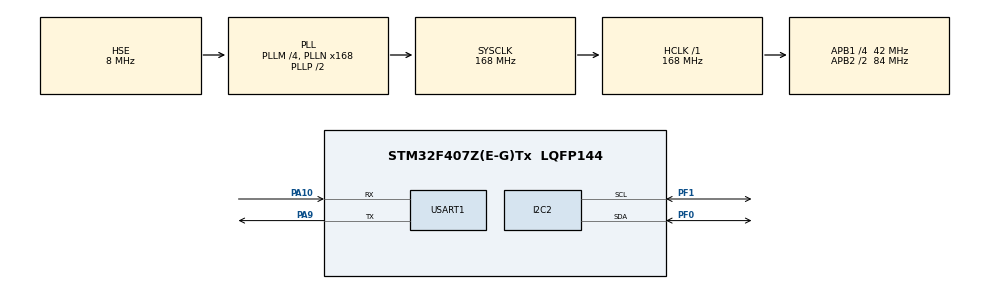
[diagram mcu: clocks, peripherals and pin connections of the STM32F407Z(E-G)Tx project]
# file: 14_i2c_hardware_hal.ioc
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Mcu.Family=STM32F4
Mcu.Name=STM32F407Z(E-G)Tx
Mcu.Package=LQFP144
NVIC.PriorityGroup=NVIC_PRIORITYGROUP_4
PA10.Mode=Asynchronous
PA10.Signal=USART1_RX
PA13.Mode=Serial_Wire
PA13.Signal=SYS_JTMS-SWDIO
PA14.Mode=Serial_Wire
PA14.Signal=SYS_JTCK-SWCLK
PA9.Mode=Asynchronous
PA9.Signal=USART1_TX
PC14-OSC32_IN.Mode=LSE-External-Oscillator
PC14-OSC32_IN.Signal=RCC_OSC32_IN
PC15-OSC32_OUT.Mode=LSE-External-Oscillator
PC15-OSC32_OUT.Signal=RCC_OSC32_OUT
PF0.Mode=I2C
PF0.Signal=I2C2_SDA
PF1.Mode=I2C
PF1.Signal=I2C2_SCL
PH0-OSC_IN.Mode=HSE-External-Oscillator
PH0-OSC_IN.Signal=RCC_OSC_IN
PH1-OSC_OUT.Mode=HSE-External-Oscillator
PH1-OSC_OUT.Signal=RCC_OSC_OUT
ProjectManager.HeapSize=0x200
ProjectManager.StackSize=0x400
ProjectManager.TargetToolchain=MDK-ARM V5.32
RCC.48MHZClocksFreq_Value=84000000
RCC.AHBFreq_Value=168000000
RCC.APB1CLKDivider=RCC_HCLK_DIV4
RCC.APB1Freq_Value=42000000
RCC.APB1TimFreq_Value=84000000
RCC.APB2CLKDivider=RCC_HCLK_DIV2
RCC.APB2Freq_Value=84000000
RCC.APB2TimFreq_Value=168000000
RCC.CortexFreq_Value=168000000
RCC.HCLKFreq_Value=168000000
RCC.HSE_VALUE=8000000
RCC.HSI_VALUE=16000000
RCC.PLLM=4
RCC.PLLN=168
RCC.PLLSourceVirtual=RCC_PLLSOURCE_HSE
RCC.SYSCLKFreq_VALUE=168000000
RCC.SYSCLKSource=RCC_SYSCLKSOURCE_PLLCLK
RCC.VCOOutputFreq_Value=336000000
USART1.VirtualMode=VM_ASYNC
board=custom

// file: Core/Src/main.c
/* USER CODE BEGIN Header */
/**
  ******************************************************************************
  * @file           : main.c
  * @brief          : Main program body
  ******************************************************************************
  * @attention
  *
  * <h2><center>&copy; Copyright (c) 2025 STMicroelectronics.
  * All rights reserved.</center></h2>
  *
  * This software component is licensed by ST under BSD 3-Clause license,
  * the "License"; You may not use this file except in compliance with the
  * License. You may obtain a copy of the License at:
  *                        opensource.org/licenses/BSD-3-Clause
  *
  ******************************************************************************
  */
/* USER CODE END Header */
#include "main.h"
#include "i2c.h"
#include "usart.h"
#include "gpio.h"

/* USER CODE BEGIN Includes */
#include<string.h>
#include "m24c02.h"
/* USER CODE END Includes */

void SystemClock_Config(void);

int main(void)
{

  /* MCU Configuration--------------------------------------------------------*/

  /* Reset of all peripherals, Initializes the Flash interface and the Systick. */
  HAL_Init();

  /* Configure the system clock */
  SystemClock_Config();

  /* Initialize all configured peripherals */
  MX_GPIO_Init();
  MX_I2C2_Init();
  MX_USART1_UART_Init();
  /* USER CODE BEGIN 2 */

//2.向eeprom一次写入单个字节
M24C02_WriteByte(0x00,'a');
   M24C02_WriteByte(0x01,'b');
   M24C02_WriteByte(0x02,'c');
   M24C02_WriteByte(0x03,'d');

    //3.一次读取字符
    uint8_t byte1 = M24C02_ReadByte(0x00);
   uint8_t byte2 = M24C02_ReadByte(0x01);
   uint8_t byte3 = M24C02_ReadByte(0x03);
   uint8_t byte4 = M24C02_ReadByte(0x02);

    //4.串口输出打印
   printf("byte1 = %c\t byte2 = %c\t byte3 = %c\t byte4 = %c\n",byte1,byte2,byte3,byte4);
    printf("byte1 = %c",byte1);
//    //5.写入多个字符
   M24C02_WriteBytes(0x00,"12345af",7);

//    //6.读取多个字符
   uint8_t buffer[100] = {0};
   M24C02_ReadBytes(0x00,buffer,7);

//    //7.串口打印
   printf("buffer1 = %s\n",buffer);

//    //8.测试超出16个子节的写入  (若超出一页的16个子节,m24c02会重新往前覆盖)
//    //ATM24C02是一页8个字节
   memset(buffer ,0 ,sizeof(buffer));//将buffer的数据清空
   M24C02_WriteBytes(0x00,"1234567890abc",13);
   M24C02_ReadBytes(0x00,buffer,13);
   printf("buffer2 = %s\n",buffer);
//
//    //9.页写
   memset(buffer ,0 ,sizeof(buffer));//将buffer的数据清空
   M24C02_WriteBytes(0x00,"1234567890abcdef",16);
   M24C02_ReadBytes(0x00,buffer,16);
   printf("buffer3 = %s\n",buffer);

  /* USER CODE END 2 */

  /* Infinite loop */
  while (1)
  {

  }
}

void SystemClock_Config(void)
{
  RCC_OscInitTypeDef RCC_OscInitStruct = {0};
  RCC_ClkInitTypeDef RCC_ClkInitStruct = {0};

  /** Configure the main internal regulator output voltage
  */
  __HAL_RCC_PWR_CLK_ENABLE();
  __HAL_PWR_VOLTAGESCALING_CONFIG(PWR_REGULATOR_VOLTAGE_SCALE1);
  /** Initializes the RCC Oscillators according to the specified parameters
  * in the RCC_OscInitTypeDef structure.
  */
  RCC_OscInitStruct.OscillatorType = RCC_OSCILLATORTYPE_HSE;
  RCC_OscInitStruct.HSEState = RCC_HSE_ON;
  RCC_OscInitStruct.PLL.PLLState = RCC_PLL_ON;
  RCC_OscInitStruct.PLL.PLLSource = RCC_PLLSOURCE_HSE;
  RCC_OscInitStruct.PLL.PLLM = 4;
  RCC_OscInitStruct.PLL.PLLN = 168;
  RCC_OscInitStruct.PLL.PLLP = RCC_PLLP_DIV2;
  RCC_OscInitStruct.PLL.PLLQ = 4;
  if (HAL_RCC_OscConfig(&RCC_OscInitStruct) != HAL_OK)
  {
    Error_Handler();
  }
  /** Initializes the CPU, AHB and APB buses clocks
  */
  RCC_ClkInitStruct.ClockType = RCC_CLOCKTYPE_HCLK|RCC_CLOCKTYPE_SYSCLK
                              |RCC_CLOCKTYPE_PCLK1|RCC_CLOCKTYPE_PCLK2;
  RCC_ClkInitStruct.SYSCLKSource = RCC_SYSCLKSOURCE_PLLCLK;
  RCC_ClkInitStruct.AHBCLKDivider = RCC_SYSCLK_DIV1;
  RCC_ClkInitStruct.APB1CLKDivider = RCC_HCLK_DIV4;
  RCC_ClkInitStruct.APB2CLKDivider = RCC_HCLK_DIV2;

  if (HAL_RCC_ClockConfig(&RCC_ClkInitStruct, FLASH_LATENCY_5) != HAL_OK)
  {
    Error_Handler();
  }
}

void Error_Handler(void)
{
  __disable_irq();
  while (1)
  {
  }
}

/************************ (C) COPYRIGHT STMicroelectronics *****END OF FILE****/
